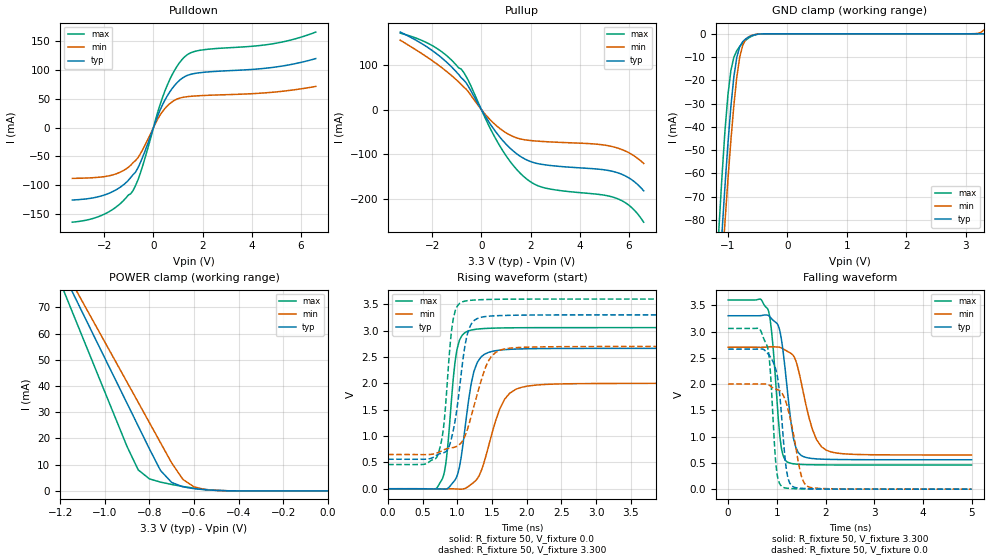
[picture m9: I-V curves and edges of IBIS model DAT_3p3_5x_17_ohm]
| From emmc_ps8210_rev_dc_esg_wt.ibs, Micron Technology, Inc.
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|   Model DAT_3p3_5x_17_ohm
[Model]   DAT_3p3_5x_17_ohm
Model_type   I/O
Vinl   = 1.10V
Vinh   = 1.85V
Vmeas  = 1.65V
|   typ   min   max
C_comp   5.070pF   4.620pF   5.590pF
[Voltage Range]   3.300V   2.700V   3.600V
| Junction Temperature (Ambient temp is 35C typ, 85C min, -25C max)
[Temperature Range]   50.0   100.0   -25.0
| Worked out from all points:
|   slope of the pulldown table from 0 to 0.495 V, typ, clamps not added: 9.92 ohm
|   slope of the pullup table from 0 to 0.495 V, typ, clamps not added: 11.6 ohm
|   GND clamp passes 1 mA (typ) near -0.62 V on its own axis
|   POWER clamp passes 1 mA (typ) near -0.61 V on its own axis
|   rising waveform, R_fixture 50, V_fixture 0.0: 20-80 % time 176ps typ, 283ps min, 125ps max; typ from 0 V to 2.66 V
|   falling waveform, R_fixture 50, V_fixture 3.300: 20-80 % time 207ps typ, 327ps min, 159ps max; typ from 3.3 V to 0.56 V
|   rising waveform, R_fixture 50, V_fixture 3.300: 20-80 % time 174ps typ, 275ps min, 120ps max; typ from 0.56 V to 3.3 V
|   falling waveform, R_fixture 50, V_fixture 0.0: 20-80 % time 161ps typ, 260ps min, 121ps max; typ from 2.66 V to 0 V
[Pulldown]
|   Voltage   I(typ)   I(min)   I(max)
-3.3V     -125.5mA   -88.06mA   -164mA
-1.914V   -115.6mA   -84.43mA   -148.3mA
-1.32V    -102.4mA   -76.6mA    -130.7mA
-825mV    -81.39mA   -60.67mA   -108.8mA
-528mV    -60.24mA   -45.15mA   -78.33mA
165mV     19.47mA    14.18mA    25.51mA
462mV     47.37mA    32.84mA    63.07mA
858mV     73.01mA    47.36mA    99.24mA
1.353V    90mA       53.44mA    125.6mA
2.046V    95.84mA    55.62mA    134.9mA
5.016V    105.2mA    61.94mA    146.5mA
6.6V      119.6mA    71.38mA    165.5mA
[GND_clamp]
|   Voltage   I(typ)   I(min)   I(max)
-3.3V     -1.215A    -1.186A    -1.264A
-1.15V    -106.9mA   -121.7mA   -83.42mA
-1.1V     -85.79mA   -101.1mA   -61.61mA
-1.05V    -65.86mA   -81.43mA   -42.03mA
-1V       -47.53mA   -62.91mA   -26.45mA
-950mV    -31.34mA   -45.93mA   -15.87mA
-900mV    -18.56mA   -30.95mA   -10.14mA
-850mV    -10.08mA   -18.57mA   -7.26mA
-800mV    -5.518mA   -9.883mA   -5.408mA
-750mV    -3.354mA   -4.867mA   -3.954mA
-650mV    -1.397mA   -1.296mA   -1.774mA
3.3V      153.5pA    1.541mA    28.72pA
[Pullup]
|   Voltage   I(typ)   I(min)   I(max)
-3.3V     173mA      154.9mA    170.7mA
-1.914V   128.4mA    105.9mA    140.1mA
-825mV    71.51mA    56.27mA    90.63mA
-528mV    51.74mA    39.7mA     64.67mA
165mV     -15.31mA   -11.04mA   -19.98mA
759mV     -61.87mA   -42.6mA    -82mA
1.353V    -95.05mA   -61.49mA   -128.4mA
1.848V    -112.5mA   -68.11mA   -155.2mA
2.64V     -123.7mA   -71.69mA   -175.6mA
5.511V    -140.5mA   -85.35mA   -198.4mA
6.105V    -156.3mA   -99.68mA   -218.4mA
6.6V      -181.3mA   -120.2mA   -251.4mA
[POWER_clamp]
|   Voltage   I(typ)   I(min)   I(max)
-3.3V     453.3mA    414.4mA    751.9mA
-1.2V     85.34mA    87.53mA    79.65mA
-1.15V    76.66mA    79.83mA    69.17mA
-1.1V     67.99mA    72.13mA    58.7mA
-900mV    33.36mA    41.43mA    16.88mA
-850mV    24.71mA    33.74mA    7.997mA
-800mV    16.03mA    26.04mA    4.596mA
-750mV    7.762mA    18.34mA    3.354mA
-700mV    3.218mA    10.64mA    2.457mA
-650mV    1.558mA    4.403mA    1.681mA
-600mV    854.9uA    1.541mA    1.032mA
0V        154pA      391.7pA    39.41pA
[Ramp]
|   typ   min   max
dV/dt_r   1.60/176.05p   1.20/283.21p   1.83/125.01p
dV/dt_f   1.64/207.42p   1.23/327.07p   1.88/159.13p
R_load = 50
[Rising Waveform]
R_fixture = 50
V_fixture = 0.0
|   Time   V(typ)   V(min)   V(max)
0s        12.26nV    14.99nV    248.3nV
780ps     -4.301mV   -2.732mV   181.6mV
840ps     -4.539mV   -1.969mV   555.6mV
990ps     228.6mV    -4.91mV    2.618V
1.14ns    1.471V     27.57mV    2.985V
1.24ns    2.236V     127mV      3.021V
1.34ns    2.501V     331.4mV    3.037V
1.61ns    2.631V     1.514V     3.051V
1.85ns    2.651V     1.893V     3.055V
5ns       2.664V     2V         3.058V
[Falling Waveform]
R_fixture   = 50
V_fixture   = 3.300
V_fixture_min = 2.700
V_fixture_max = 3.600
|   Time   V(typ)   V(min)   V(max)
0s        3.3V       2.7V       3.6V
830ps     3.303V     2.708V     3.387V
910ps     3.227V     2.71V      2.831V
1.07ns    2.975V     2.696V     944.5mV
1.21ns    1.936V     2.626V     518.7mV
1.34ns    974mV      2.539V     483.4mV
1.44ns    698.1mV    2.28V      473.7mV
1.73ns    583.4mV    1.138V     464.5mV
2.02ns    568.2mV    740mV      461.4mV
5ns       559.8mV    650.1mV    459.7mV
[Rising Waveform]
R_fixture   = 50
V_fixture   = 3.300
V_fixture_min = 2.700
V_fixture_max = 3.600
|   Time   V(typ)   V(min)   V(max)
0s        559.7mV    649.9mV    459.6mV
710ps     644.6mV    681mV      620mV
800ps     683mV      736.1mV    1.168V
900ps     886.5mV    773.1mV    2.814V
940ps     1.109V     782.4mV    3.225V
1.06ns    2.244V     883.9mV    3.54V
1.2ns     3.129V     1.385V     3.577V
1.41ns    3.269V     2.32V      3.591V
1.61ns    3.286V     2.627V     3.596V
5ns       3.3V       2.7V       3.6V
[Falling Waveform]
R_fixture = 50
V_fixture = 0.0
|   Time   V(typ)   V(min)   V(max)
0s        2.664V     2.001V     3.058V
630ps     2.665V     2.001V     3.061V
800ps     2.593V     1.997V     2.725V
860ps     2.527V     1.969V     2.319V
990ps     2.237V     1.897V     397.9mV
1.11ns    1.237V     1.821V     46.2mV
1.26ns    125.3mV    1.404V     14.06mV
1.5ns     16.82mV    262.1mV    5.378mV
1.64ns    10.16mV    47.7mV     3.207mV
5ns       48.21uV    61.99uV    38.41uV
